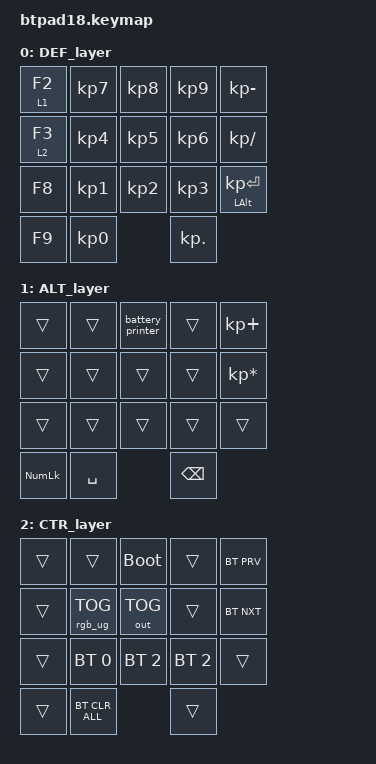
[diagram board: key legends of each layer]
/*
 * Copyright (c) 2020 The ZMK Contributors
 *
 *
 * SPDX-License-Identifier: MIT
 */

#include <behaviors.dtsi>
#include <dt-bindings/zmk/bt.h>
#include <dt-bindings/zmk/keys.h>
#include <dt-bindings/zmk/outputs.h>
#include <dt-bindings/zmk/rgb.h>

#define DEF 0
#define ALT 1
#define CTR 2

/ {
    macros {
        ma_1: ma_1 {
            label = "ma_1";
            compatible = "zmk,behavior-macro";
            #binding-cells = <0>;
            bindings =
                <&macro_press>,
                <&kp RALT>,
                <&macro_tap>,
                <&kp SEMI>,
                <&macro_release>,
                <&kp RALT>;
        };
    };
};

/ {
    behaviors {
        ht: hold_tap {
            compatible = "zmk,behavior-hold-tap";
            label = "Hold Tap";
            #binding-cells = <2>;
            tapping-term-ms = <200>;
            flavor = "tap-preferred";
            bindings = <&kp>, <&kp>;
        };

        battery_printer: battery_printer {
            compatible = "zmk,behavior-battery-printer";
            label = "BATTERY_PRINTER";
            #binding-cells = <0>;
        };
    };

    keymap {
        compatible = "zmk,keymap";

        DEF_layer {
            bindings = <
&lt 1 F2  &kp KP_NUMBER_7  &kp KP_NUMBER_8  &kp KP_NUMBER_9  &kp KP_SUBTRACT
&lt 2 F3  &kp KP_NUMBER_4  &kp KP_NUMBER_5  &kp KP_NUMBER_6  &kp KP_DIVIDE
&kp F8    &kp KP_NUMBER_1  &kp KP_NUMBER_2  &kp KP_NUMBER_3  &mt LEFT_ALT KP_ENTER
&kp F9    &kp KP_NUMBER_0                   &kp KP_DOT
            >;
        };

        ALT_layer {
            bindings = <
&trans          &trans     &battery_printer  &trans         &kp KP_PLUS
&trans          &trans     &trans            &trans         &kp KP_MULTIPLY
&trans          &trans     &trans            &trans         &trans
&kp KP_NUMLOCK  &kp SPACE                    &kp BACKSPACE
            >;
        };

        CTR_layer {
            bindings = <
&trans  &trans           &bootloader   &trans        &bt BT_PRV
&trans  &rgb_ug RGB_TOG  &out OUT_TOG  &trans        &bt BT_NXT
&trans  &bt BT_SEL 0     &bt BT_SEL 2  &bt BT_SEL 2  &trans
&trans  &bt BT_CLR_ALL                 &trans
            >;
        };
    };
};
